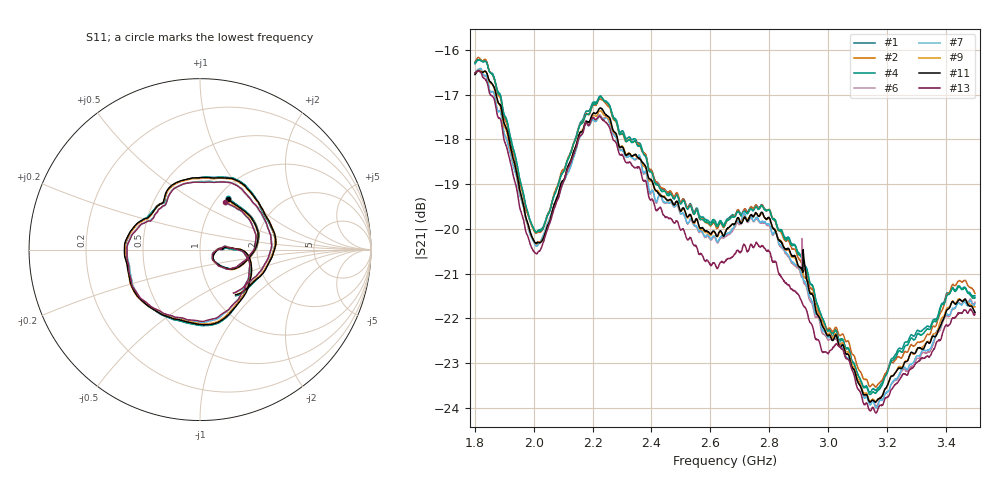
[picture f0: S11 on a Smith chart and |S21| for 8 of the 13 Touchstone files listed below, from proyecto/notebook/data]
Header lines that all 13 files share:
! Created with skrf 1.9.0 (http://scikit-rf.org).
# Hz S RI R 50.0
!freq ReS11 ImS11 ReS21 ImS21 ReS12 ImS12 ReS22 ImS22
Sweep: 1.8 GHz to 3.5 GHz
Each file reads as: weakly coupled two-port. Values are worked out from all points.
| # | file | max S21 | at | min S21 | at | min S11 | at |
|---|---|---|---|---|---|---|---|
| 1 | A20_D06_B2_O240_corrected.s2p | -16.22 dB | 1.811 GHz | -23.7 dB | 3.142 GHz | -21.5 dB | 2.087 GHz |
| 2 | A20_D07_B2_O120_corrected.s2p | -16.17 dB | 1.811 GHz | -23.5 dB | 3.162 GHz | -21.8 dB | 2.091 GHz |
| 3 | A20_D07_B2_O240_corrected.s2p | -16.24 dB | 1.812 GHz | -23.7 dB | 3.143 GHz | -21.4 dB | 2.089 GHz |
| 4 | A20_D08_B2_O000_corrected.s2p | -16.22 dB | 1.81 GHz | -23.7 dB | 3.143 GHz | -21.5 dB | 2.088 GHz |
| 5 | A21_D01_B2_O120_corrected.s2p | -16.33 dB | 1.81 GHz | -24.0 dB | 3.163 GHz | -22.2 dB | 2.093 GHz |
| 6 | A21_D03_B2_O000_corrected.s2p | -16.44 dB | 1.82 GHz | -24.0 dB | 3.165 GHz | -22.1 dB | 2.092 GHz |
| 7 | A21_D03_B2_O240_corrected.s2p | -16.41 dB | 1.818 GHz | -24.0 dB | 3.165 GHz | -22.2 dB | 2.092 GHz |
| 8 | A21_D05_B2_O000_corrected.s2p | -16.47 dB | 1.812 GHz | -23.9 dB | 3.163 GHz | -21.4 dB | 2.09 GHz |
| 9 | A21_D05_B2_O240_corrected.s2p | -16.46 dB | 1.814 GHz | -23.9 dB | 3.163 GHz | -21.5 dB | 2.09 GHz |
| 10 | A21_D06_B2_O120_corrected.s2p | -16.43 dB | 1.814 GHz | -23.8 dB | 3.164 GHz | -21.4 dB | 2.09 GHz |
| 11 | A21_D08_B2_O120_corrected.s2p | -16.46 dB | 1.811 GHz | -23.9 dB | 3.162 GHz | -21.3 dB | 2.09 GHz |
| 12 | A21_D08_B2_O240_corrected.s2p | -16.48 dB | 1.812 GHz | -23.9 dB | 3.144 GHz | -21.3 dB | 2.09 GHz |
| 13 | A22_D01_B2_O120_corrected.s2p | -16.47 dB | 1.811 GHz | -24.1 dB | 3.163 GHz | -22.3 dB | 2.094 GHz |
